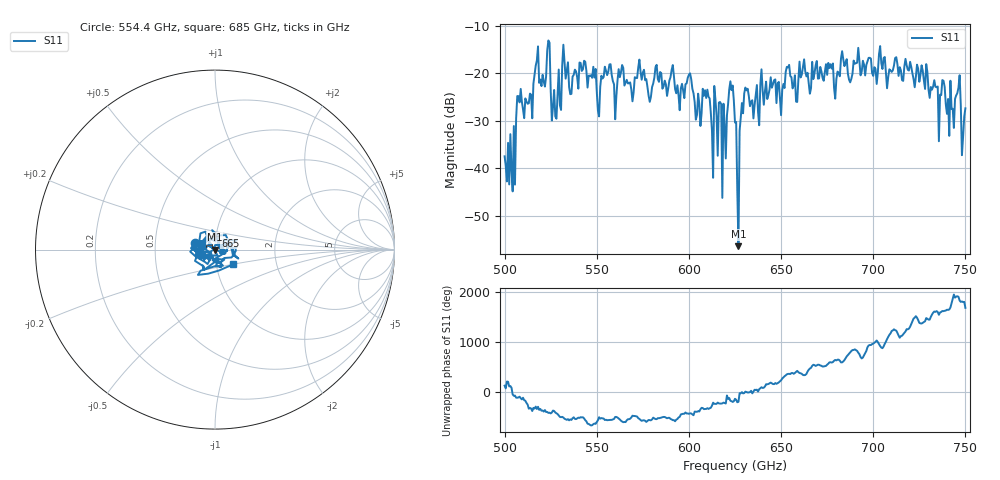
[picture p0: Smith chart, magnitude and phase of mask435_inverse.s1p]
!Created with skrf (http://scikit-rf.org).
# GHz S MA R 50.0
!freq magS11 angS11
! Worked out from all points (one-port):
!   401 points, 500 GHz to 750 GHz, reference 50 ohm
!   lowest |S11| = -56.4 dB at 626.9 GHz (marker M1), VSWR 1.00, Z = 49.9 + j0.0351 ohm
!   |S11| at or under -10 dB: start of sweep to end of sweep
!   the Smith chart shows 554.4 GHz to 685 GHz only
!   S11 on the Smith chart (normalised r, x): 554.4 GHz: 0.80, +0.06; 665 GHz: 0.99, +0.16; 685 GHz: 1.20, -0.20
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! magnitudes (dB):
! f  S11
! 500 GHz  -37.5
! 505 GHz  -31.1
! 507.5 GHz  -24.8
! 513.8 GHz  -24.3
! 516.9 GHz  -18.5
! 523.8 GHz  -13.1
! 526.9 GHz  -23.5
! 531.2 GHz  -18.4
! 542.5 GHz  -19.2
! 551.2 GHz  -29.1
! 554.4 GHz  -18.7
! 562.5 GHz  -20.9
! 593.8 GHz  -22.6
! 610 GHz  -23.5
! 611.9 GHz  -28.3
! 619.4 GHz  -30.9
! 623.1 GHz  -23.6
! 625 GHz  -30.4
! 625.6 GHz  -30.3
! 626.9 GHz  -56.4
! 628.8 GHz  -26.3
! 631.2 GHz  -23.6
! 656.2 GHz  -23.2
! 665 GHz  -22.2
! 685 GHz  -17.8
! 687.5 GHz  -21.9
! 718.8 GHz  -19.3
! 750 GHz  -27.4
